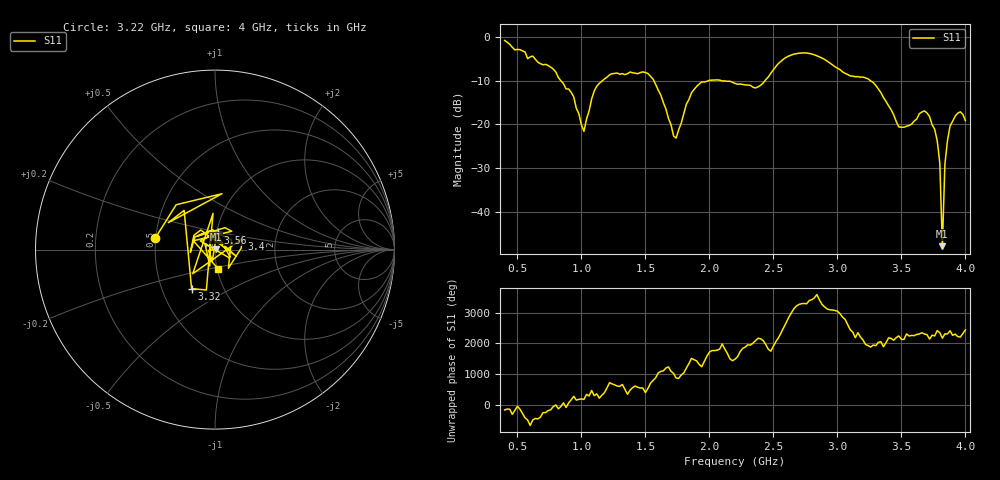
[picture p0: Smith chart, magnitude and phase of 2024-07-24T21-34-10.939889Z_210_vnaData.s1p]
!Created with skrf (http://scikit-rf.org).
# Hz S RI R 50.0
!freq ReS11 ImS11
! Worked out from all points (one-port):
!   181 points, 400 MHz to 4 GHz, reference 50 ohm
!   lowest |S11| = -47.9 dB at 3.82 GHz (marker M1), VSWR 1.01, Z = 50.4 + j0.0923 ohm
!   |S11| at or under -10 dB: 838.2 MHz to 1.165 GHz (326.6 MHz wide, 32.6 % of centre); 1.566 GHz to 1.994 GHz (428 MHz wide, 24.1 % of centre); 3.257 GHz to end of sweep (the widest 3 of 4)
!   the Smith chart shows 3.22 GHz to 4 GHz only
!   S11 on the Smith chart (normalised r, x): 3.22 GHz: 0.50, +0.07; 3.32 GHz: 0.71, -0.33; 3.4 GHz: 1.34, +0.17; 3.56 GHz: 1.01, +0.20; 4 GHz: 1.01, -0.22
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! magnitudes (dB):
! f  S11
! 400 MHz  -0.8
! 860 MHz  -10.7
! 940 MHz  -13.7
! 1.02 GHz  -21.6
! 1.12 GHz  -11.3
! 1.3 GHz  -8.5
! 1.52 GHz  -8.4
! 1.72 GHz  -22.7
! 1.76 GHz  -21.2
! 1.86 GHz  -12.8
! 1.94 GHz  -10.3
! 2.2 GHz  -10.7
! 2.38 GHz  -11.4
! 2.66 GHz  -3.9
! 3.1 GHz  -8.9
! 3.22 GHz  -9.4
! 3.32 GHz  -11.9
! 3.4 GHz  -15.8
! 3.48 GHz  -20.6
! 3.56 GHz  -20.3
! 3.68 GHz  -16.9
! 3.76 GHz  -21.2
! 3.8 GHz  -28.8
! 3.82 GHz  -47.9
! 3.84 GHz  -29.1
! 3.88 GHz  -20.5
! 3.96 GHz  -17.2
! 4 GHz  -19.1
